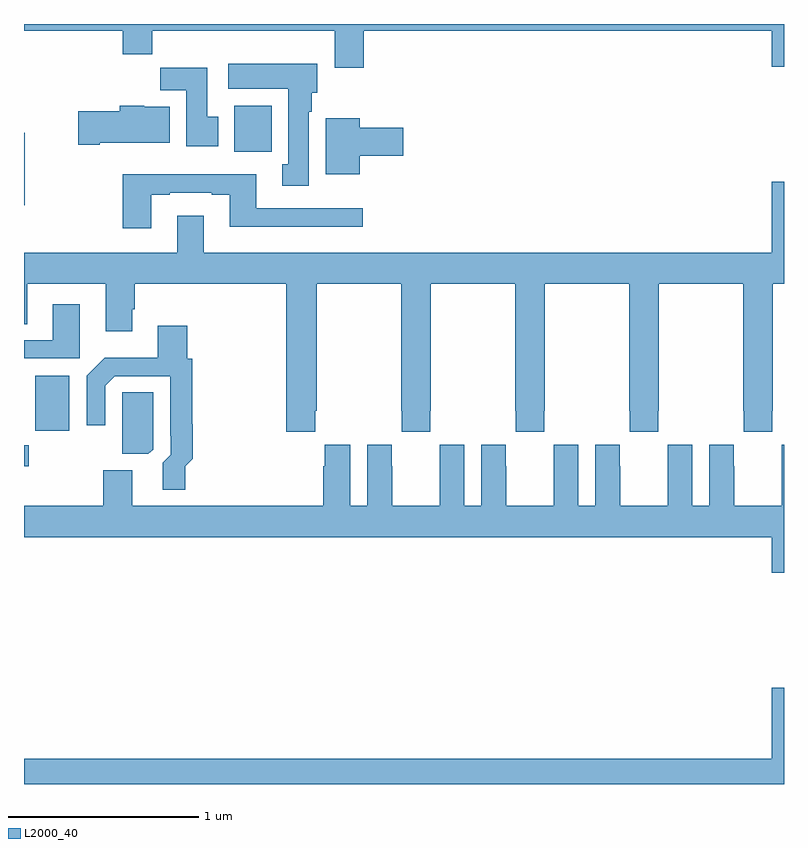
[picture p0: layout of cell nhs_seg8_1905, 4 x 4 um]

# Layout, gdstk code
import gdstk
lib = gdstk.Library(unit=1e-6, precision=1e-09)
def R(c, l, rs):  # rectangles x0, y0, x1, y1
    for r in rs: c.add(gdstk.rectangle(r[:2], r[2:], *l))
def P(c, l, *ps):  # polygons
    for p in ps: c.add(gdstk.Polygon(p, *l))
L2000_40 = (2000, 40)

nhs_seg8_1905 = lib.new_cell('nhs_seg8_1905')
R(nhs_seg8_1905, L2000_40, [(233,1083.573,233.026,1083.682), (233.06,1083.758,233.239,1084.048), (233,1084.947,233.003,1085.328), (234.107,1085.228,234.304,1085.47)])
P(nhs_seg8_1905, L2000_40, [(234.788,1085.864),(236.936,1085.864),(236.936,1085.676),(237,1085.676),(237,1085.9),(233,1085.9),(233,1085.864),(233.519,1085.864),(233.519,1085.74),(233.675,1085.74),(233.675,1085.864),(234.635,1085.864),(234.635,1085.67),(234.788,1085.67)],
  [(234.499,1085.438),(234.514,1085.438),(234.514,1085.538),(234.544,1085.538),(234.544,1085.692),(234.075,1085.692),(234.075,1085.558),(234.392,1085.558),(234.392,1085.162),(234.359,1085.162),(234.359,1085.049),(234.499,1085.049)],
  [(234.022,1085.412),(233.965,1085.412),(233.965,1085.671),(233.716,1085.671),(233.716,1085.552),(233.855,1085.552),(233.855,1085.256),(234.022,1085.256)],
  [(233.398,1085.276),(233.767,1085.276),(233.767,1085.464),(233.634,1085.464),(233.634,1085.47),(233.504,1085.47),(233.504,1085.442),(233.286,1085.442),(233.286,1085.264),(233.398,1085.264)],
  [(234.766,1085.207),(234.997,1085.207),(234.997,1085.354),(234.766,1085.354),(234.766,1085.404),(234.587,1085.404),(234.587,1085.108),(234.766,1085.108)],
  [(233.671,1085.001),(233.767,1085.001),(233.767,1085.013),(233.987,1085.013),(233.987,1085.001),(234.083,1085.001),(234.083,1084.832),(234.784,1084.832),(234.784,1084.929),(234.223,1084.929),(234.223,1085.11),(233.519,1085.11),(233.519,1084.824),(233.671,1084.824)],
  [(233.947,1084.891),(233.807,1084.891),(233.807,1084.696),(233,1084.696),(233,1084.321),(233.017,1084.321),(233.017,1084.532),(233.429,1084.532),(233.429,1084.284),(233.569,1084.284),(233.569,1084.399),(233.582,1084.399),(233.582,1084.532),(234.38,1084.532),(234.38,1083.753),(234.533,1083.753),(234.533,1083.865),(234.54,1083.865),(234.54,1084.532),(234.985,1084.532),(234.985,1083.865),(234.987,1083.865),(234.987,1083.753),(235.137,1083.753),(235.137,1083.865),(235.14,1083.865),(235.14,1084.532),(235.585,1084.532),(235.585,1083.865),(235.587,1083.865),(235.587,1083.753),(235.737,1083.753),(235.737,1083.865),(235.74,1083.865),(235.74,1084.532),(236.185,1084.532),(236.185,1083.865),(236.187,1083.865),(236.187,1083.753),(236.337,1083.753),(236.337,1083.865),(236.34,1083.865),(236.34,1084.532),(236.785,1084.532),(236.785,1083.865),(236.787,1083.865),(236.787,1083.753),(236.937,1083.753),(236.937,1083.865),(236.94,1083.865),(236.94,1084.532),(237,1084.532),(237,1085.071),(236.936,1085.071),(236.936,1084.696),(233.947,1084.696)],
  [(233.293,1084.426),(233.15,1084.426),(233.15,1084.236),(233,1084.236),(233,1084.14),(233.293,1084.14)],
  [(233.849,1083.573),(233.888,1083.612),(233.888,1083.794),(233.885,1083.794),(233.885,1084.137),(233.858,1084.137),(233.858,1084.312),(233.705,1084.312),(233.705,1084.144),(233.425,1084.144),(233.331,1084.05),(233.331,1083.789),(233.427,1083.789),(233.427,1083.996),(233.478,1084.047),(233.769,1084.047),(233.769,1083.733),(233.772,1083.733),(233.772,1083.633),(233.729,1083.59),(233.729,1083.45),(233.849,1083.45)],
  [(233.679,1083.66),(233.679,1083.962),(233.517,1083.962),(233.517,1083.851),(233.516,1083.851),(233.516,1083.637),(233.655,1083.637)],
  [(237,1083.685),(236.988,1083.685),(236.988,1083.572),(236.987,1083.572),(236.987,1083.364),(236.737,1083.364),(236.737,1083.572),(236.736,1083.572),(236.736,1083.685),(236.606,1083.685),(236.606,1083.364),(236.518,1083.364),(236.518,1083.685),(236.388,1083.685),(236.388,1083.572),(236.387,1083.572),(236.387,1083.364),(236.137,1083.364),(236.137,1083.572),(236.136,1083.572),(236.136,1083.685),(236.006,1083.685),(236.006,1083.364),(235.918,1083.364),(235.918,1083.685),(235.788,1083.685),(235.788,1083.572),(235.787,1083.572),(235.787,1083.364),(235.537,1083.364),(235.537,1083.572),(235.536,1083.572),(235.536,1083.685),(235.406,1083.685),(235.406,1083.364),(235.318,1083.364),(235.318,1083.685),(235.188,1083.685),(235.188,1083.572),(235.187,1083.572),(235.187,1083.364),(234.937,1083.364),(234.937,1083.572),(234.936,1083.572),(234.936,1083.685),(234.806,1083.685),(234.806,1083.364),(234.718,1083.364),(234.718,1083.685),(234.584,1083.685),(234.584,1083.572),(234.575,1083.572),(234.575,1083.364),(233.569,1083.364),(233.569,1083.552),(233.417,1083.552),(233.417,1083.364),(233,1083.364),(233,1083.2),(236.936,1083.2),(236.936,1083.012),(237,1083.012)],
  [(237,1082.407),(236.936,1082.407),(236.936,1082.032),(233,1082.032),(233,1081.9),(237,1081.9)])

lib.write_gds('nhs_seg8_1905.gds')
